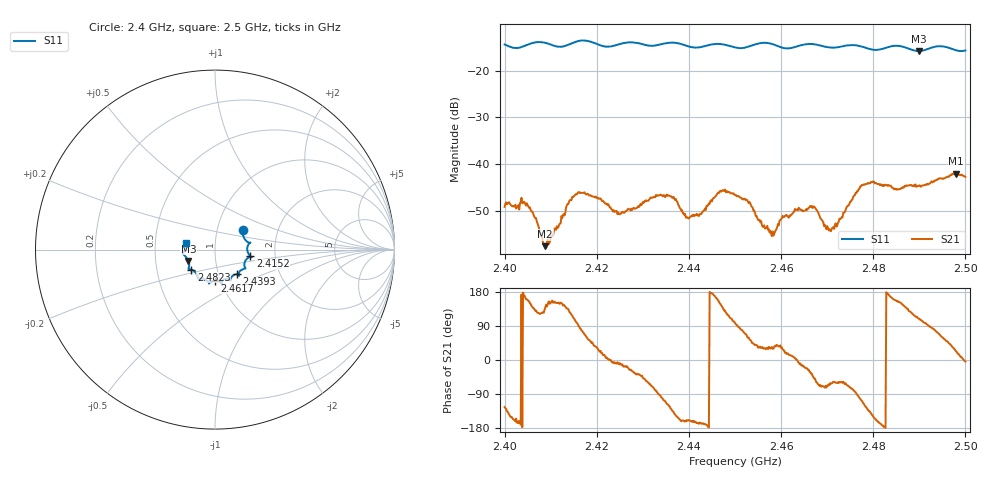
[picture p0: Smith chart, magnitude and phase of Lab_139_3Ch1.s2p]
# Hz S RI R 50
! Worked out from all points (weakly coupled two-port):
!   601 points, 2.4 GHz to 2.5 GHz, reference 50 ohm
!   highest |S21| = -42.03 dB at 2.498 GHz (marker M1); lowest = -57.5 dB at 2.4088 GHz (marker M2)
!   lowest |S11| = -15.8 dB at 2.4898 GHz (marker M3), VSWR 1.39, Z = 36.8 - j4.77 ohm
!   |S11| at or under -10 dB: start of sweep to end of sweep
!   S12 and S22 are empty: the file has one direction only
!   S11 on the Smith chart (normalised r, x): 2.4 GHz: 1.33, +0.30; 2.4152 GHz: 1.49, -0.11; 2.4393 GHz: 1.23, -0.35; 2.4617 GHz: 0.94, -0.34; 2.4823 GHz: 0.75, -0.17; 2.5 GHz: 0.72, +0.05
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2.4e9  0.1553 0.109  -0.00196 -0.0029  0 0  0 0
2.404667e9  0.1815 0.0423  -0.0034 0.00123  0 0  0 0
2.408833e9  0.194 0.0377  -0.00101 0.000874  0 0  0 0
2.415167e9  0.1971 -0.0369  -0.00142 0.00438  0 0  0 0
2.416667e9  0.2048 -0.0423  0.000996 0.00484  0 0  0 0
2.425e9  0.1658 -0.0971  0.00289 -0.000419  0 0  0 0
2.433333e9  0.1318 -0.1336  -2.05e-05 -0.00462  0 0  0 0
2.436667e9  0.1343 -0.146  -0.00326 -0.00306  0 0  0 0
2.439333e9  0.1229 -0.1378  -0.00256 -0.000825  0 0  0 0
2.442667e9  0.0921 -0.1527  -0.00287 -0.000625  0 0  0 0
2.446833e9  0.0845 -0.1722  -0.0044 0.00279  0 0  0 0
2.45e9  0.0662 -0.1637  -0.000612 0.00466  0 0  0 0
2.458e9  0.0375 -0.1888  0.00141 0.000959  0 0  0 0
2.461667e9  0.000508 -0.1726  0.00261 0.000639  0 0  0 0
2.466667e9  -0.0336 -0.1889  0.00289 -0.00211  0 0  0 0
2.471e9  -0.0567 -0.1662  0.000978 -0.00182  0 0  0 0
2.4775e9  -0.097 -0.1521  -0.00179 -0.00572  0 0  0 0
2.482333e9  -0.1323 -0.111  -0.00585 -0.000311  0 0  0 0
2.483333e9  -0.1408 -0.1099  -0.00594 0.000799  0 0  0 0
2.489833e9  -0.1486 -0.0632  -0.00194 0.00552  0 0  0 0
2.498e9  -0.1646 0.00295  0.00732 0.003  0 0  0 0
2.5e9  -0.1597 0.0363  0.0073 -0.000539  0 0  0 0
